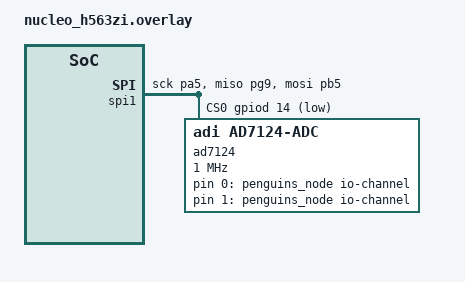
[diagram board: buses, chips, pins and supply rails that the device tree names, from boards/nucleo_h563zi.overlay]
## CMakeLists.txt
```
cmake_minimum_required(VERSION 3.20.0)

find_package(Zephyr REQUIRED HINTS $ENV{ZEPHYR_BASE})

project(penguin_rtd LANGUAGES C)

target_sources(app PRIVATE src/main.c)
```

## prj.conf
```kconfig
CONFIG_LOG=y
CONFIG_CBPRINTF_FP_SUPPORT=y
CONFIG_SPI=y
CONFIG_GPIO=y
CONFIG_ADC=y

CONFIG_COO_CONFIG_LIB=y
CONFIG_COO_SENSORS_LIB=y
```

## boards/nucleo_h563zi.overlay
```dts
/* Two Penguin PT1000s, 4-wire ratiometric on the AD7124 (Zephyr driver path).
 * Excitation IOUT0 on each I+ pin, sensed differentially on V+/V-, external
 * REFIN1 across the 5.1k reference. */
#include <zephyr/dt-bindings/adc/ad7124-adc.h>

/ {
    aliases {
        penguins = &penguins_node;
    };

    penguins_node: zephyr,user {
        io-channels = <&ad7124 0>, <&ad7124 1>;
    };
};

&spi1 {
    status = "okay";
    pinctrl-0 = <&spi1_sck_pa5 &spi1_miso_pg9 &spi1_mosi_pb5>;
    pinctrl-names = "default";
    cs-gpios = <&gpiod 14 GPIO_ACTIVE_LOW>;

    ad7124: ad7124@0 {
        compatible = "adi,ad7124-adc";
        reg = <0>;
        spi-max-frequency = <1000000>;
        active-device = <1>;
        refbuf-enable-mask = <0x3>;
        inbuf-enable-mask = <0x3>;
        #address-cells = <1>;
        #size-cells = <0>;
        #io-channel-cells = <1>;

        channel@0 {
            reg = <0>;
            zephyr,gain = "ADC_GAIN_1";
            zephyr,reference = "ADC_REF_EXTERNAL0";
            zephyr,acquisition-time = <ADC_ACQ_TIME_DEFAULT>;
            zephyr,resolution = <24>;
            zephyr,input-positive = <AD7124_ADC_AIN10>;
            zephyr,input-negative = <AD7124_ADC_AIN9>;
            zephyr,current-source-pin = [03 08];
        };

        channel@1 {
            reg = <1>;
            zephyr,gain = "ADC_GAIN_1";
            zephyr,reference = "ADC_REF_EXTERNAL0";
            zephyr,acquisition-time = <ADC_ACQ_TIME_DEFAULT>;
            zephyr,resolution = <24>;
            zephyr,input-positive = <AD7124_ADC_AIN5>;
            zephyr,input-negative = <AD7124_ADC_AIN6>;
            zephyr,current-source-pin = [0B 07];
        };
    };
};
```

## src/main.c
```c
/* Read the two Penguin PT1000s through sensor_manager (the SENSOR_TYPE_P_RTD
 * path). Ratiometric against R1 (5.1k); both excitation currents flow through
 * it, so reference_resistance is 2*R1. */

#include <zephyr/kernel.h>
#include <zephyr/drivers/adc.h>
#include <zephyr/logging/log.h>
#include <stdio.h>

#include <config.h>
#include <sensor_manager.h>

LOG_MODULE_REGISTER(penguin_rtd, LOG_LEVEL_INF);

static const struct adc_dt_spec penguin_spec[] = {
	ADC_DT_SPEC_GET_BY_IDX(DT_ALIAS(penguins), 0),
	ADC_DT_SPEC_GET_BY_IDX(DT_ALIAS(penguins), 1),
};

static void configure_penguin(sensor_config_t *sensor, const char *id,
			      const struct adc_dt_spec *spec)
{
	strncpy(sensor->id, id, MAX_ID_LENGTH - 1);
	sensor->type = SENSOR_TYPE_P_RTD;
	sensor->nominal_resistance = 1000.0f;       /* PT1000 */
	sensor->temperature_coefficient = 3850.0f;  /* r_nom * alpha * 1000 */
	sensor->reference_resistance = 10200.0f;    /* 2 * R1; both IOUT share it */
	sensor->adc_gain = 1;
	sensor->adc_resolution = 24;
	sensor->driver_data = spec;
	sensor->enabled = true;
}

int main(void)
{
	thermal_config_t *config = config_load_defaults();

	if (config == NULL) {
		LOG_ERR("config_load_defaults failed");
		return 0;
	}

	config->number_of_sensors = 2;
	configure_penguin(&config->sensors[0], "penguin-1", &penguin_spec[0]);
	configure_penguin(&config->sensors[1], "penguin-2", &penguin_spec[1]);

	if (sensor_manager_init(config) != 0) {
		LOG_ERR("sensor_manager_init failed");
		return 0;
	}

	while (1) {
		sensor_manager_read_all();

		for (int i = 0; i < 2; i++) {
			sensor_reading_t r;

			if (sensor_manager_get_reading(config->sensors[i].id, &r) == 0) {
				printf("%s: %.2f C (status %d)   ", config->sensors[i].id,
				       (double)(r.temperature_kelvin - 273.15f), r.status);
			}
		}
		printf("\n");
		k_sleep(K_MSEC(500));
	}
	return 0;
}
```
